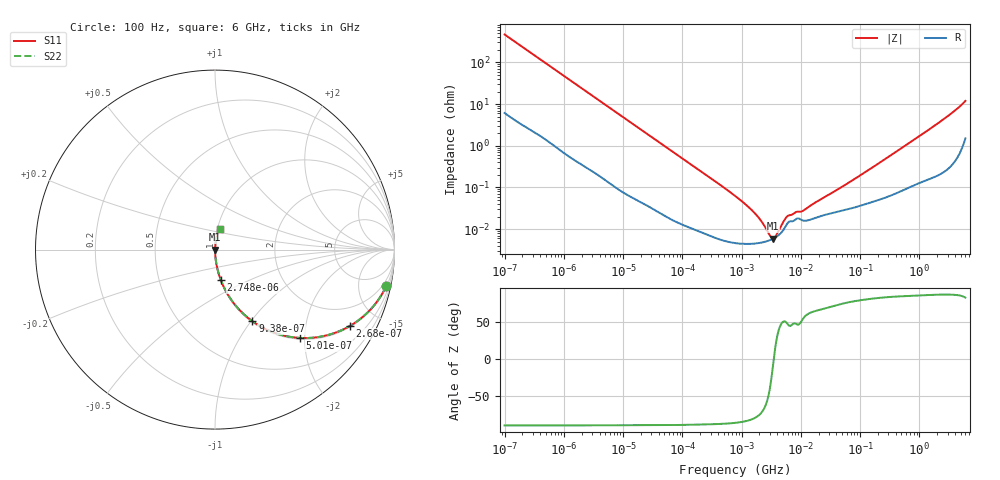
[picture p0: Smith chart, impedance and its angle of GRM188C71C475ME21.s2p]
!Murata Part Number: GRM188C71C475ME21
!These Parameters are Measured in Series Mode Connection
!Data Generated on Mar 30, 2021
!  o--ll--o
!Port1  Port2
!  o------o
!Operation Temp=25[degC], DC Bias Voltage=0[V]
!Freq. Start=100[Hz] Stop=6[GHz] 401[Steps]
# Hz S RI R 50
!Freq.(Hz) S11(Real) S11(Imag) S21(Real) S21(Imag) S12(Real) S12(Imag) S22(Real) S22(Imag)
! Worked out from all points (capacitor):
!   401 points, 100 Hz to 6 GHz, reference 50 ohm
!   read as one part in series: C = 3.4 uF near 109 Hz
!   lowest |Z| = 5.93 mohm at 3.394 MHz (marker M1)
!   series resonance near 3.494 MHz, so ESL is about 610 pH
!   S11 on the Smith chart (normalised r, x): 100 Hz: 1.12, -9.33; 268 Hz: 1.05, -3.51; 501 Hz: 1.03, -1.89; 938 Hz: 1.01, -1.01; 2.748 kHz: 1.01, -0.35; 6 GHz: 1.03, +0.24
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100  0.9537 -0.2038  0.0463 0.2038  0.0463 0.2038  0.9537 -0.2038
164  0.8881 -0.3088  0.1119 0.3088  0.1119 0.3088  0.8881 -0.3088
268  0.7522 -0.4248  0.2478 0.4248  0.2478 0.4248  0.7522 -0.4248
501  0.4718 -0.492  0.5282 0.492  0.5282 0.492  0.4718 -0.492
938  0.2082 -0.399  0.7918 0.399  0.7918 0.399  0.2082 -0.399
2008  0.0568 -0.2242  0.9432 0.2242  0.9432 0.2242  0.0568 -0.2242
2748  0.0321 -0.1688  0.9679 0.1688  0.9679 0.1688  0.0321 -0.1688
8047  0.00454 -0.06  0.9955 0.06  0.9955 0.06  0.00454 -0.06
40335  0.0004 -0.0122  0.9996 0.0122  0.9996 0.0122  0.0004 -0.0122
774597  4.66e-05 -0.000627  1 0.000627  1 0.000627  4.66e-05 -0.000627
1585629  4.48e-05 -0.000257  1 0.000257  1 0.000257  4.48e-05 -0.000257
2594782  5.06e-05 -8.91e-05  0.9999 8.91e-05  0.9999 8.91e-05  5.06e-05 -8.91e-05
3394479  5.87e-05 -8.5e-06  0.9999 8.5e-06  0.9999 8.5e-06  5.87e-05 -8.5e-06
4246196  7.22e-05 5.93e-05  0.9999 -5.93e-05  0.9999 -5.93e-05  7.22e-05 5.93e-05
6075234  0.000143 0.000152  0.9999 -0.000152  0.9999 -0.000152  0.000143 0.000152
8311524  0.000174 0.00019  0.9998 -0.00019  0.9998 -0.00019  0.000174 0.00019
1.087309e7  0.000161 0.000224  0.9998 -0.000224  0.9998 -0.000224  0.000161 0.000224
1.555665e7  0.000175 0.000349  0.9998 -0.000349  0.9998 -0.000349  0.000175 0.000349
5.960426e7  0.000295 0.00118  0.9997 -0.00118  0.9997 -0.00118  0.000295 0.00118
3.124326e8  0.000649 0.00556  0.9994 -0.00556  0.9994 -0.00556  0.000649 0.00556
2.142435e9  0.00327 0.0357  0.9967 -0.0357  0.9967 -0.0357  0.00327 0.0357
6e9  0.0279 0.1132  0.9721 -0.1132  0.9721 -0.1132  0.0279 0.1132
